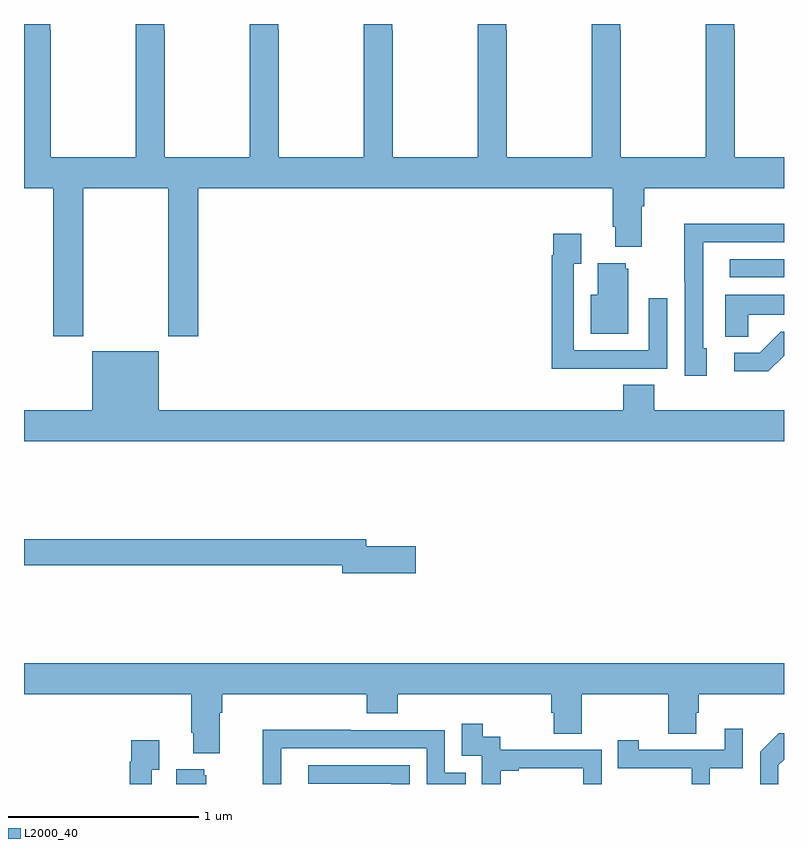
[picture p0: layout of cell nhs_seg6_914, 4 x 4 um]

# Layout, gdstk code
import gdstk
lib = gdstk.Library(unit=1e-6, precision=1e-09)
def R(c, l, rs):  # rectangles x0, y0, x1, y1
    for r in rs: c.add(gdstk.rectangle(r[:2], r[2:], *l))
def P(c, l, *ps):  # polygons
    for p in ps: c.add(gdstk.Polygon(p, *l))
L2000_40 = (2000, 40)

nhs_seg6_914 = lib.new_cell('nhs_seg6_914')
R(nhs_seg6_914, L2000_40, [(170.715,980.166,171,980.262)])
P(nhs_seg6_914, L2000_40, [(167.313,980.636),(167.758,980.636),(167.758,979.857),(167.918,979.857),(167.918,980.636),(170.099,980.636),(170.099,980.434),(170.111,980.434),(170.111,980.327),(170.251,980.327),(170.251,980.54),(170.264,980.54),(170.264,980.636),(171,980.636),(171,980.8),(170.742,980.8),(170.742,981.467),(170.739,981.467),(170.739,981.5),(170.589,981.5),(170.589,981.467),(170.587,981.467),(170.587,980.8),(170.142,980.8),(170.142,981.467),(170.139,981.467),(170.139,981.5),(169.989,981.5),(169.989,981.467),(169.987,981.467),(169.987,980.8),(169.542,980.8),(169.542,981.467),(169.539,981.467),(169.539,981.5),(169.389,981.5),(169.389,981.467),(169.387,981.467),(169.387,980.8),(168.942,980.8),(168.942,981.467),(168.939,981.467),(168.939,981.5),(168.789,981.5),(168.789,981.467),(168.787,981.467),(168.787,980.8),(168.342,980.8),(168.342,981.467),(168.339,981.467),(168.339,981.5),(168.189,981.5),(168.189,981.467),(168.187,981.467),(168.187,980.8),(167.742,980.8),(167.742,981.467),(167.739,981.467),(167.739,981.5),(167.589,981.5),(167.589,981.467),(167.587,981.467),(167.587,980.8),(167.142,980.8),(167.142,981.467),(167.139,981.467),(167.139,981.5),(167,981.5),(167,980.636),(167.153,980.636),(167.153,979.857),(167.313,979.857)],
  [(170.593,979.794),(170.574,979.794),(170.574,980.352),(171,980.352),(171,980.448),(170.939,980.448),(170.939,980.45),(170.476,980.45),(170.476,980.143),(170.478,980.143),(170.478,979.65),(170.593,979.65)],
  [(170.069,979.686),(170.385,979.686),(170.385,980.056),(170.289,980.056),(170.289,979.782),(169.893,979.782),(169.893,980.239),(169.933,980.239),(169.933,980.395),(169.785,980.395),(169.785,980.282),(169.777,980.282),(169.777,979.685),(170.069,979.685)],
  [(170.179,980.211),(170.168,980.211),(170.168,980.242),(170.021,980.242),(170.021,980.074),(169.982,980.074),(169.982,979.871),(170.179,979.871)],
  [(170.811,979.97),(171,979.97),(171,980.074),(170.69,980.074),(170.69,979.855),(170.811,979.855)],
  [(171,979.755),(171,979.881),(170.984,979.881),(170.873,979.77),(170.739,979.77),(170.739,979.673),(170.917,979.673)],
  [(171,979.468),(170.318,979.468),(170.318,979.601),(170.153,979.601),(170.153,979.468),(167.71,979.468),(167.71,979.777),(167.36,979.777),(167.36,979.468),(167,979.468),(167,979.304),(171,979.304)],
  [(169.063,978.752),(168.802,978.752),(168.802,978.788),(167,978.788),(167,978.652),(168.674,978.652),(168.674,978.61),(169.063,978.61)],
  [(167,977.972),(167.879,977.972),(167.879,977.77),(167.891,977.77),(167.891,977.663),(168.031,977.663),(168.031,977.876),(168.044,977.876),(168.044,977.972),(168.803,977.972),(168.803,977.873),(168.968,977.873),(168.968,977.972),(169.775,977.972),(169.775,977.874),(169.787,977.874),(169.787,977.764),(169.935,977.764),(169.935,977.972),(170.392,977.972),(170.392,977.764),(170.539,977.764),(170.539,977.874),(170.552,977.874),(170.552,977.972),(171,977.972),(171,978.136),(167,978.136)],
  [(169.508,977.571),(169.603,977.571),(169.603,977.583),(169.944,977.583),(169.944,977.5),(170.04,977.5),(170.04,977.679),(169.506,977.679),(169.506,977.748),(169.414,977.748),(169.414,977.818),(169.305,977.818),(169.305,977.649),(169.41,977.649),(169.41,977.5),(169.508,977.5)],
  [(170.61,977.583),(170.784,977.583),(170.784,977.791),(170.687,977.791),(170.687,977.679),(170.236,977.679),(170.236,977.731),(170.125,977.731),(170.125,977.583),(170.514,977.583),(170.514,977.5),(170.61,977.5)],
  [(168.354,977.688),(169.119,977.688),(169.119,977.5),(169.325,977.5),(169.325,977.559),(169.215,977.559),(169.215,977.784),(168.719,977.784),(168.719,977.786),(168.256,977.786),(168.256,977.5),(168.354,977.5)],
  [(170.97,977.598),(171,977.628),(171,977.768),(170.972,977.768),(170.874,977.67),(170.874,977.5),(170.97,977.5)],
  [(167.673,977.575),(167.713,977.575),(167.713,977.731),(167.565,977.731),(167.565,977.618),(167.557,977.618),(167.557,977.5),(167.673,977.5)],
  [(169.029,977.598),(168.495,977.598),(168.495,977.502),(168.933,977.502),(168.933,977.5),(169.029,977.5)],
  [(167.959,977.547),(167.948,977.547),(167.948,977.578),(167.801,977.578),(167.801,977.5),(167.959,977.5)])

lib.write_gds('nhs_seg6_914.gds')
